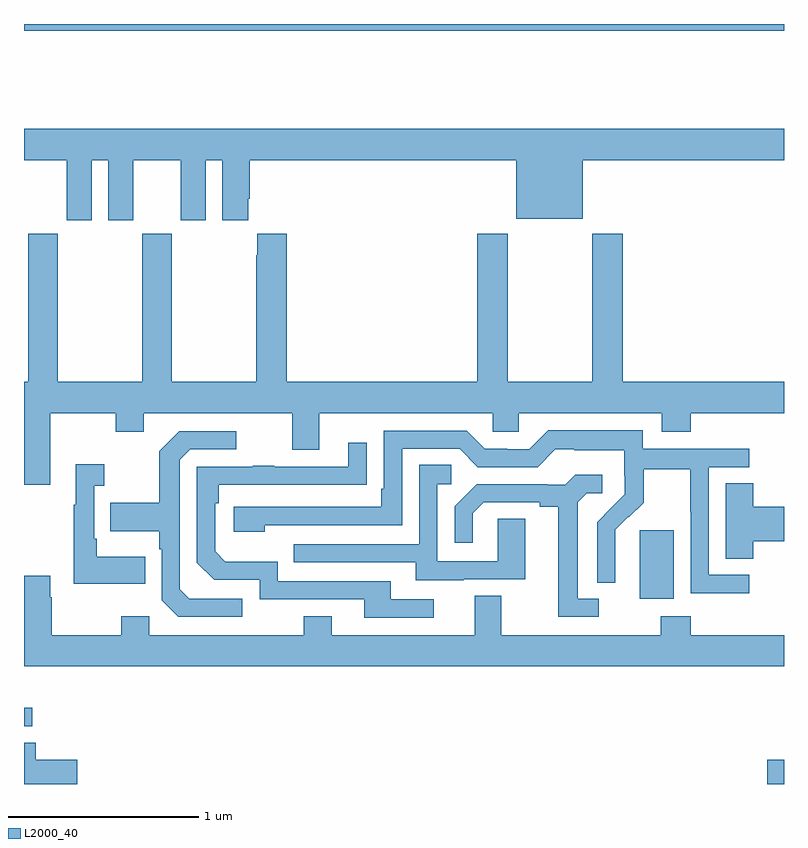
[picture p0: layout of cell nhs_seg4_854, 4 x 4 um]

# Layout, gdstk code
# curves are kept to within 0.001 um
import gdstk
lib = gdstk.Library(unit=1e-6, precision=1e-09)
def R(c, l, rs):  # rectangles x0, y0, x1, y1
    for r in rs: c.add(gdstk.rectangle(r[:2], r[2:], *l))
def P(c, l, *ps):  # polygons
    for p in ps: c.add(gdstk.Polygon(p, *l))
L2000_40 = (2000, 40)

nhs_seg4_854 = lib.new_cell('nhs_seg4_854')
R(nhs_seg4_854, L2000_40, [(158.912,762.9,159,763.028), (155,763.203,155.044,763.302), (158.24,763.874,158.419,764.235), (155,766.864,159,766.9)])
P(nhs_seg4_854, L2000_40, [(155,766.184),(155.225,766.184),(155.225,765.867),(155.356,765.867),(155.356,766.184),(155.444,766.184),(155.444,765.867),(155.575,765.867),(155.575,766.184),(155.825,766.184),(155.825,765.867),(155.956,765.867),(155.956,766.184),(156.044,766.184),(156.044,765.867),(156.181,765.867),(156.181,765.979),(156.188,765.979),(156.188,766.184),(157.592,766.184),(157.592,765.875),(157.942,765.875),(157.942,766.184),(159,766.184),(159,766.348),(155,766.348)],
  [(155.137,764.852),(155.482,764.852),(155.482,764.753),(155.629,764.753),(155.629,764.852),(156.413,764.852),(156.413,764.658),(156.553,764.658),(156.553,764.852),(157.467,764.852),(157.467,764.754),(157.605,764.754),(157.605,764.852),(158.357,764.852),(158.357,764.753),(158.51,764.753),(158.51,764.852),(159,764.852),(159,765.016),(158.15,765.016),(158.15,765.796),(157.99,765.796),(157.99,765.016),(157.545,765.016),(157.545,765.796),(157.385,765.796),(157.385,765.016),(156.383,765.016),(156.383,765.796),(156.227,765.796),(156.227,765.683),(156.223,765.683),(156.223,765.016),(155.778,765.016),(155.778,765.796),(155.623,765.796),(155.623,765.016),(155.178,765.016),(155.178,765.796),(155.023,765.796),(155.023,765.016),(155,765.016),(155,764.475),(155.137,764.475)],
  [(158.818,764.001),(158.604,764.001),(158.604,764.568),(158.818,764.568),(158.818,764.664),(158.256,764.664),(158.256,764.761),(157.759,764.761),(157.659,764.661),(157.544,764.661),(157.544,764.664),(157.425,764.664),(157.329,764.76),(156.894,764.76),(156.894,764.455),(156.881,764.455),(156.881,764.358),(156.105,764.358),(156.105,764.228),(156.266,764.228),(156.266,764.262),(156.99,764.262),(156.99,764.664),(157.293,764.664),(157.389,764.568),(157.704,764.568),(157.797,764.661),(157.897,764.661),(157.897,764.657),(158.16,764.657),(158.16,764.523),(158.162,764.523),(158.162,764.426),(158.016,764.278),(158.016,763.96),(158.112,763.96),(158.111,764.237),(158.181,764.307),(158.184,764.304),(158.261,764.381),(158.261,764.556),(158.506,764.556),(158.506,764.332),(158.508,764.332),(158.508,763.903),(158.818,763.903)],
  [(156.148,763.875),(155.871,763.875),(155.82,763.926),(155.82,764.607),(155.874,764.661),(156.118,764.661),(156.118,764.757),(155.817,764.757),(155.712,764.651),(155.712,764.379),(155.455,764.379),(155.455,764.231),(155.712,764.231),(155.712,764.135),(155.724,764.135),(155.724,763.866),(155.811,763.779),(156.148,763.779)],
  [(157.156,763.872),(156.931,763.872),(156.931,763.968),(156.336,763.968),(156.336,764.071),(156.059,764.071),(156.006,764.124),(156.006,764.378),(156.026,764.378),(156.026,764.475),(156.803,764.476),(156.803,764.695),(156.707,764.695),(156.707,764.571),(156.317,764.571),(156.317,764.576),(156.205,764.576),(156.205,764.571),(155.91,764.571),(155.91,764.064),(156,763.974),(156.24,763.974),(156.24,763.872),(156.791,763.872),(156.791,763.776),(157.156,763.776)],
  [(155.639,764.095),(155.383,764.095),(155.383,764.191),(155.37,764.191),(155.37,764.471),(155.422,764.471),(155.422,764.584),(155.273,764.584),(155.273,764.371),(155.262,764.371),(155.262,763.955),(155.639,763.955)],
  [(157.315,763.977),(157.639,763.977),(157.639,764.297),(157.494,764.297),(157.494,764.073),(157.176,764.073),(157.176,764.478),(157.249,764.478),(157.249,764.579),(157.08,764.579),(157.08,764.163),(156.421,764.163),(156.421,764.067),(157.061,764.067),(157.061,763.973),(157.315,763.973)],
  [(158.026,763.875),(157.915,763.875),(157.915,764.383),(157.962,764.43),(158.044,764.43),(158.044,764.527),(157.9,764.527),(157.848,764.475),(157.754,764.475),(157.754,764.478),(157.382,764.478),(157.266,764.362),(157.266,764.169),(157.363,764.169),(157.363,764.325),(157.42,764.382),(157.715,764.382),(157.715,764.36),(157.811,764.36),(157.811,763.779),(158.026,763.779)],
  [(158.837,764.177),(159,764.177),(159,764.36),(158.837,764.36),(158.837,764.483),(158.693,764.483),(158.693,764.086),(158.837,764.086)],
  [(159,763.684),(158.51,763.684),(158.51,763.783),(158.35,763.783),(158.35,763.684),(157.513,763.684),(157.513,763.892),(157.373,763.892),(157.373,763.684),(156.619,763.684),(156.619,763.783),(156.472,763.783),(156.472,763.684),(155.658,763.684),(155.658,763.783),(155.512,763.783),(155.512,763.684),(155.145,763.684),(155.145,763.883),(155.137,763.883),(155.137,763.996),(155,763.996),(155,763.52),(159,763.52)],
  [(155.281,763.028),(155.063,763.028),(155.063,763.118),(155,763.118),(155,762.9),(155.281,762.9)])

lib.write_gds('nhs_seg4_854.gds')
